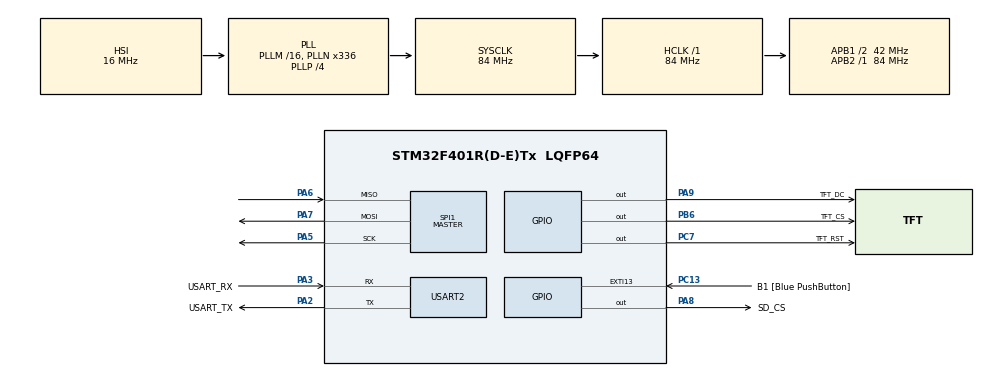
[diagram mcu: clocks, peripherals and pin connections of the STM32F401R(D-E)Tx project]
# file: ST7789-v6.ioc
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Mcu.Family=STM32F4
Mcu.Name=STM32F401R(D-E)Tx
Mcu.Package=LQFP64
NVIC.PriorityGroup=NVIC_PRIORITYGROUP_4
PA13.GPIO_Label=TMS
PA13.Mode=Trace_Asynchronous_SW
PA13.Signal=SYS_JTMS-SWDIO
PA14.GPIO_Label=TCK
PA14.Mode=Trace_Asynchronous_SW
PA14.Signal=SYS_JTCK-SWCLK
PA2.GPIO_Label=USART_TX
PA2.GPIO_Mode=GPIO_MODE_AF_PP
PA2.GPIO_PuPd=GPIO_NOPULL
PA2.GPIO_Speed=GPIO_SPEED_FREQ_LOW
PA2.Mode=Asynchronous
PA2.Signal=USART2_TX
PA3.GPIO_Label=USART_RX
PA3.GPIO_Mode=GPIO_MODE_AF_PP
PA3.GPIO_PuPd=GPIO_NOPULL
PA3.GPIO_Speed=GPIO_SPEED_FREQ_LOW
PA3.Mode=Asynchronous
PA3.Signal=USART2_RX
PA5.Mode=Full_Duplex_Master
PA5.Signal=SPI1_SCK
PA6.Mode=Full_Duplex_Master
PA6.Signal=SPI1_MISO
PA7.Mode=Full_Duplex_Master
PA7.Signal=SPI1_MOSI
PA8.GPIO_Label=SD_CS
PA8.GPIO_Speed=GPIO_SPEED_FREQ_HIGH
PA8.PinState=GPIO_PIN_SET
PA8.Signal=GPIO_Output
PA9.GPIO_Label=TFT_DC
PA9.GPIO_Speed=GPIO_SPEED_FREQ_HIGH
PA9.Signal=GPIO_Output
PB3.GPIO_Label=SWO
PB3.Mode=Trace_Asynchronous_SW
PB3.Signal=SYS_JTDO-SWO
PB6.GPIO_Label=TFT_CS
PB6.GPIO_Speed=GPIO_SPEED_FREQ_HIGH
PB6.PinState=GPIO_PIN_SET
PB6.Signal=GPIO_Output
PC13-ANTI_TAMP.GPIO_Label=B1 [Blue PushButton]
PC13-ANTI_TAMP.GPIO_ModeDefaultEXTI=GPIO_MODE_IT_FALLING
PC13-ANTI_TAMP.GPIO_PuPd=GPIO_NOPULL
PC13-ANTI_TAMP.Signal=GPXTI13
PC14-OSC32_IN.Mode=LSE-External-Oscillator
PC14-OSC32_IN.Signal=RCC_OSC32_IN
PC15-OSC32_OUT.Mode=LSE-External-Oscillator
PC15-OSC32_OUT.Signal=RCC_OSC32_OUT
PC7.GPIO_Label=TFT_RST
PC7.GPIO_Speed=GPIO_SPEED_FREQ_HIGH
PC7.PinState=GPIO_PIN_SET
PC7.Signal=GPIO_Output
PH0\ -\ OSC_IN.Mode=HSE-External-Clock-Source
PH0\ -\ OSC_IN.Signal=RCC_OSC_IN
PH1\ -\ OSC_OUT.Mode=HSE-External-Clock-Source
PH1\ -\ OSC_OUT.Signal=RCC_OSC_OUT
ProjectManager.HeapSize=0x200
ProjectManager.StackSize=0x400
ProjectManager.TargetToolchain=STM32CubeIDE
RCC.48MHZClocksFreq_Value=48000000
RCC.AHBFreq_Value=84000000
RCC.APB1CLKDivider=RCC_HCLK_DIV2
RCC.APB1Freq_Value=42000000
RCC.APB1TimFreq_Value=84000000
RCC.APB2Freq_Value=84000000
RCC.APB2TimFreq_Value=84000000
RCC.CortexFreq_Value=84000000
RCC.HCLKFreq_Value=84000000
RCC.HSE_VALUE=8000000
RCC.HSI_VALUE=16000000
RCC.PLLN=336
RCC.PLLP=RCC_PLLP_DIV4
RCC.PLLQ=7
RCC.SYSCLKFreq_VALUE=84000000
RCC.SYSCLKSource=RCC_SYSCLKSOURCE_PLLCLK
RCC.VCOOutputFreq_Value=336000000
SPI1.BaudRatePrescaler=SPI_BAUDRATEPRESCALER_4
SPI1.Direction=SPI_DIRECTION_2LINES
SPI1.Mode=SPI_MODE_MASTER
SPI1.VirtualType=VM_MASTER
USART2.VirtualMode=VM_ASYNC
board=NUCLEO-F401RE

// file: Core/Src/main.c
/* USER CODE BEGIN Header */
/* A simple program to write logs to an SD card inside ST7789 module.

 * More details at https://docs.google.com/document/d/1ZJOHVxbNSykoR235Ihzmc-WmFaMbpkd_DGbw0OYxWb4/edit?usp=sharing

*/
/**
  ******************************************************************************
  * @file           : main.c
  * @brief          : Main program body
  ******************************************************************************
  * @attention
  *
  * Copyright (c) 2026 STMicroelectronics.
  * All rights reserved.
  *
  * This software is licensed under terms that can be found in the LICENSE file
  * in the root directory of this software component.
  * If no LICENSE file comes with this software, it is provided AS-IS.
  *
  ******************************************************************************
  */
/* USER CODE END Header */
#include "main.h"
#include "spi.h"
#include "usart.h"
#include "gpio.h"

/* USER CODE BEGIN Includes */
#include <stdio.h>
#include <stdarg.h>
#include <string.h>
#include "sdDriver.h"
#include "tft.h"
#include "ff.h"
#include "fs_test.h"
#include "sdLog.h"

/* USER CODE END Includes */

void SystemClock_Config(void);

/* USER CODE BEGIN 0 */
// static FIL wf;    // //File object structure for write test

/* USER CODE END 0 */

int main(void)
{

  /* MCU Configuration--------------------------------------------------------*/

  /* Reset of all peripherals, Initializes the Flash interface and the Systick. */
  HAL_Init();

  /* Configure the system clock */
  SystemClock_Config();

  /* Initialize all configured peripherals */
  MX_GPIO_Init();
  MX_SPI1_Init();
  MX_USART2_UART_Init();
  /* USER CODE BEGIN 2 */
  tft_init();

  // testing tft_draw_string function
  tft_fill(0x0000); // bg color
  tft_draw_string(10, 10, "Hello Mathew!*", 0xFFFF, 0x0000, 3); //(x, y, string, fg, bg, scale)
  tft_draw_string(10, 40, "This is a test print", 0xFFFF, 0x0000, 2);
  tft_draw_string(10, 70, "CONGRATULATIONS-it works.", 0xFFFF, 0x0000, 2);
  tft_draw_string(10, 100, "ABCDEFGHIJKLMNOPQRSTUVWXYZ", 0xFFFF, 0x0000, 2);
  tft_draw_string(10, 130, "abcdefghijklmnopqrstuvwxyz 0123456789", 0xFFFF, 0x0000, 2);

  if (sd_init() == SD_OK)
  {
	  uint16_t adc_value = 2048;
	  sdlog_init();                    /* mounts, writes "=== BOOT ===" */
      sdlog("ADC = %u", adc_value);    /* printf-style */
      sdlog_str("plain text, 100% safe");
  }

  /* USER CODE END 2 */

  /* Infinite loop */
  while (1)
  {

  }
}

void SystemClock_Config(void)
{
  RCC_OscInitTypeDef RCC_OscInitStruct = {0};
  RCC_ClkInitTypeDef RCC_ClkInitStruct = {0};

  /** Configure the main internal regulator output voltage
  */
  __HAL_RCC_PWR_CLK_ENABLE();
  __HAL_PWR_VOLTAGESCALING_CONFIG(PWR_REGULATOR_VOLTAGE_SCALE2);

  /** Initializes the RCC Oscillators according to the specified parameters
  * in the RCC_OscInitTypeDef structure.
  */
  RCC_OscInitStruct.OscillatorType = RCC_OSCILLATORTYPE_HSI;
  RCC_OscInitStruct.HSIState = RCC_HSI_ON;
  RCC_OscInitStruct.HSICalibrationValue = RCC_HSICALIBRATION_DEFAULT;
  RCC_OscInitStruct.PLL.PLLState = RCC_PLL_ON;
  RCC_OscInitStruct.PLL.PLLSource = RCC_PLLSOURCE_HSI;
  RCC_OscInitStruct.PLL.PLLM = 16;
  RCC_OscInitStruct.PLL.PLLN = 336;
  RCC_OscInitStruct.PLL.PLLP = RCC_PLLP_DIV4;
  RCC_OscInitStruct.PLL.PLLQ = 7;
  if (HAL_RCC_OscConfig(&RCC_OscInitStruct) != HAL_OK)
  {
    Error_Handler();
  }

  /** Initializes the CPU, AHB and APB buses clocks
  */
  RCC_ClkInitStruct.ClockType = RCC_CLOCKTYPE_HCLK|RCC_CLOCKTYPE_SYSCLK
                              |RCC_CLOCKTYPE_PCLK1|RCC_CLOCKTYPE_PCLK2;
  RCC_ClkInitStruct.SYSCLKSource = RCC_SYSCLKSOURCE_PLLCLK;
  RCC_ClkInitStruct.AHBCLKDivider = RCC_SYSCLK_DIV1;
  RCC_ClkInitStruct.APB1CLKDivider = RCC_HCLK_DIV2;
  RCC_ClkInitStruct.APB2CLKDivider = RCC_HCLK_DIV1;

  if (HAL_RCC_ClockConfig(&RCC_ClkInitStruct, FLASH_LATENCY_2) != HAL_OK)
  {
    Error_Handler();
  }
}

void Error_Handler(void)
{
  __disable_irq();
  while (1)
  {
  }
}
